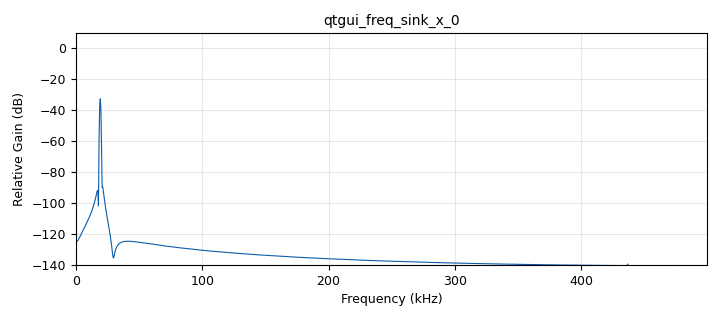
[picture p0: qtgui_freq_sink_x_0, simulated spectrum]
options:
  parameters:
    author: Bauti
    generate_options: qt_gui
    id: TPAMa
    output_language: python
    title: Not titled yet
  states: {}

blocks:
- name: L_amp
  id: variable_qtgui_range
  parameters:
    start: '0'
    step: '0.01'
    stop: '1'
    value: '0'
  states: {}
- name: deltaF
  id: variable
  parameters:
    value: 75e3
  states: {}
- name: frec_L
  id: variable_qtgui_range
  parameters:
    start: '0'
    step: '1'
    stop: 20e3
    value: '50'
  states: {}
- name: samp_rate
  id: variable
  parameters:
    value: 1e6
  states: {}
- name: analog_sig_source_x_0
  id: analog_sig_source_x
  parameters:
    amp: L_amp
    comment: L
    freq: frec_L
    offset: '0'
    phase: '0'
    samp_rate: samp_rate
    type: float
    waveform: analog.GR_COS_WAVE
  states: {}
- name: analog_sig_source_x_1
  id: analog_sig_source_x
  parameters:
    amp: L_amp
    comment: R
    freq: '1000'
    offset: '0'
    phase: '0'
    samp_rate: samp_rate
    type: float
    waveform: analog.GR_COS_WAVE
  states: {}
- name: analog_sig_source_x_2
  id: analog_sig_source_x
  parameters:
    amp: '1'
    comment: Pilot
    freq: 19e3
    offset: '0'
    phase: '0'
    samp_rate: samp_rate
    type: complex
    waveform: analog.GR_SIN_WAVE
  states: {}
- name: blocks_add_xx_0
  id: blocks_add_xx
  parameters:
    comment: L+R
    type: float
  states: {}
- name: blocks_add_xx_1
  id: blocks_add_xx
  parameters:
    num_inputs: '3'
    type: float
  states: {}
- name: blocks_complex_to_imag_0
  id: blocks_complex_to_imag
  parameters: {}
  states: {}
- name: blocks_complex_to_imag_1
  id: blocks_complex_to_imag
  parameters: {}
  states: {}
- name: blocks_float_to_complex_0
  id: blocks_float_to_complex
  parameters: {}
  states: {}
- name: blocks_multiply_const_vxx_0
  id: blocks_multiply_const_vxx
  parameters:
    const: '0.1'
    type: float
  states: {}
- name: blocks_multiply_xx_0
  id: blocks_multiply_xx
  parameters:
    type: complex
  states: {}
- name: blocks_multiply_xx_1
  id: blocks_multiply_xx
  parameters:
    type: float
  states: {}
- name: blocks_sub_xx_0
  id: blocks_sub_xx
  parameters:
    comment: L-R
    type: float
  states: {}
- name: blocks_throttle2_1
  id: blocks_throttle2
  parameters:
    samples_per_second: samp_rate
    type: complex
  states: {}
- name: import_0
  id: import
  parameters:
    imports: import numpy as np
  states: {}
- name: qtgui_freq_sink_x_0
  id: qtgui_freq_sink_x
  parameters:
    bw: samp_rate
    fc: '0'
    fftsize: '2048'
    freqhalf: 'False'
    type: float
    wintype: window.WIN_KAISER
  states: {}
- name: qtgui_time_sink_x_0
  id: qtgui_time_sink_x
  parameters:
    size: '1024'
    srate: samp_rate
    type: float
  states: {state: disabled}
- name: uhd_usrp_sink_0
  id: uhd_usrp_sink
  parameters:
    ant0: '"TX/RX"'
    center_freq0: '0'
    gain0: '0'
    samp_rate: samp_rate
    sync: sync
    type: fc32
  states: {}

connections:
- [analog_sig_source_x_0, '0', blocks_add_xx_0, '1']
- [analog_sig_source_x_0, '0', blocks_sub_xx_0, '1']
- [analog_sig_source_x_1, '0', blocks_add_xx_0, '0']
- [analog_sig_source_x_1, '0', blocks_sub_xx_0, '0']
- [analog_sig_source_x_2, '0', blocks_throttle2_1, '0']
- [blocks_add_xx_0, '0', blocks_add_xx_1, '1']
- [blocks_add_xx_1, '0', blocks_float_to_complex_0, '0']
- [blocks_add_xx_1, '0', qtgui_freq_sink_x_0, '0']
- [blocks_add_xx_1, '0', qtgui_time_sink_x_0, '0']
- [blocks_complex_to_imag_0, '0', blocks_multiply_xx_1, '1']
- [blocks_complex_to_imag_1, '0', blocks_multiply_const_vxx_0, '0']
- [blocks_float_to_complex_0, '0', uhd_usrp_sink_0, '0']
- [blocks_multiply_const_vxx_0, '0', blocks_add_xx_1, '2']
- [blocks_multiply_xx_0, '0', blocks_complex_to_imag_0, '0']
- [blocks_multiply_xx_1, '0', blocks_add_xx_1, '0']
- [blocks_sub_xx_0, '0', blocks_multiply_xx_1, '0']
- [blocks_throttle2_1, '0', blocks_complex_to_imag_1, '0']
- [blocks_throttle2_1, '0', blocks_multiply_xx_0, '0']
- [blocks_throttle2_1, '0', blocks_multiply_xx_0, '1']

metadata:
  file_format: 1
  grc_version: 3.10.12.0
